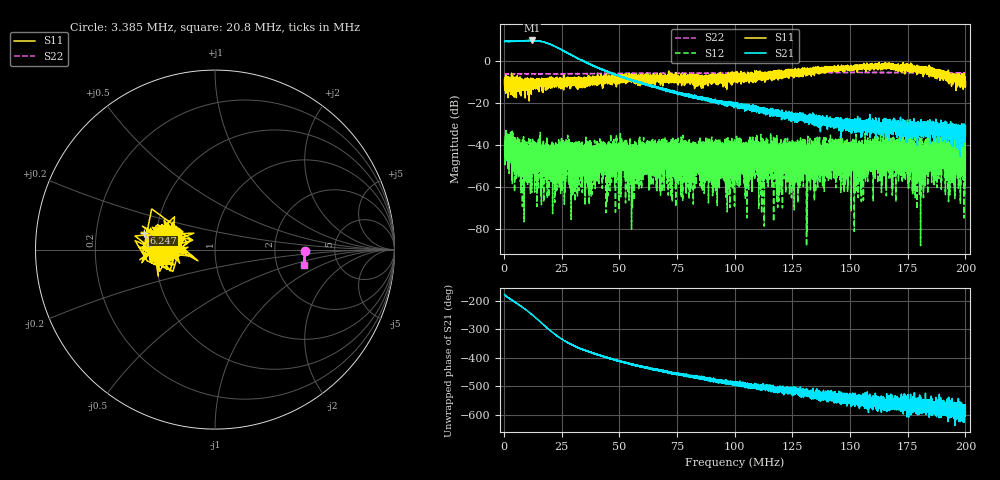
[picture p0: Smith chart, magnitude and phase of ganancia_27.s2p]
# Hz S DB R 50
! CMT, M5065, 19127446, 24.2.4/2
! Date: 10/29/2024 1:17:20 PM
! Data: Format (Calibration Info)
! Freq	S11:dB/Ang(F2)	S21:dB/Ang(F2)	S12:dB/Ang(F2)	S22:dB/Ang(F2)
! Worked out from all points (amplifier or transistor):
!   9000 points, 300 kHz to 200 MHz, reference 50 ohm
!   highest |S21| = 9.9 dB at 12.17 MHz (marker M1)
!   |S21| within 3 dB of that: start of sweep to 22.4 MHz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
!   unconditionally stable (mu >= 1): start of sweep to end of sweep
!   at 33.59 MHz: K = 161.56, MAG = 2.2 dB, |S12| = -54.2 dB
!   at 100.2 MHz: K = 1522.22, MAG = -18.2 dB, |S12| = -54.1 dB
!   at 200 MHz: K = 2116.32, MAG = -33.4 dB, |S12| = -41.0 dB
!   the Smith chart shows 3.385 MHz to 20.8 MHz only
!   S11 on the Smith chart (normalised r, x): 3.385 MHz: 0.50, -0.03; 6.247 MHz: 0.43, +0.10; 20.8 MHz: 0.53, -0.02
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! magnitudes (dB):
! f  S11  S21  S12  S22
! 300 kHz  -11.1  9.4  -41.8  -6.0
! 3.385 MHz  -9.5  9.5  -43.8  -6.0
! 6.247 MHz  -7.8  9.6  -41.0  -6.0
! 12.17 MHz  -12.1  9.9  -47.7  -6.0
! 20.8 MHz  -10.3  7.8  -43.0  -6.0
! 33.59 MHz  -10.1  0.5  -54.2  -5.9
! 45.19 MHz  -8.7  -5.0  -64.1  -5.8
! 51.07 MHz  -7.4  -7.4  -40.6  -5.8
! 56.02 MHz  -8.1  -9.1  -43.3  -5.8
! 64.83 MHz  -7.0  -11.9  -45.7  -5.8
! 66.87 MHz  -7.8  -12.6  -45.9  -5.8
! 100.2 MHz  -6.1  -20.8  -54.1  -5.7
! 104.8 MHz  -7.2  -21.7  -39.0  -5.7
! 108.9 MHz  -5.1  -22.3  -46.4  -5.7
! 111.2 MHz  -7.1  -23.0  -46.1  -5.7
! 133.4 MHz  -5.1  -26.7  -41.6  -5.4
! 166.7 MHz  -2.0  -30.7  -46.2  -5.4
! 174.3 MHz  -2.8  -31.7  -40.8  -5.4
! 181.5 MHz  -3.6  -29.5  -59.0  -5.5
! 190.7 MHz  -6.9  -32.2  -43.5  -5.5
! 198.4 MHz  -12.0  -29.8  -43.9  -5.5
! 200 MHz  -9.4  -35.4  -41.0  -5.6
